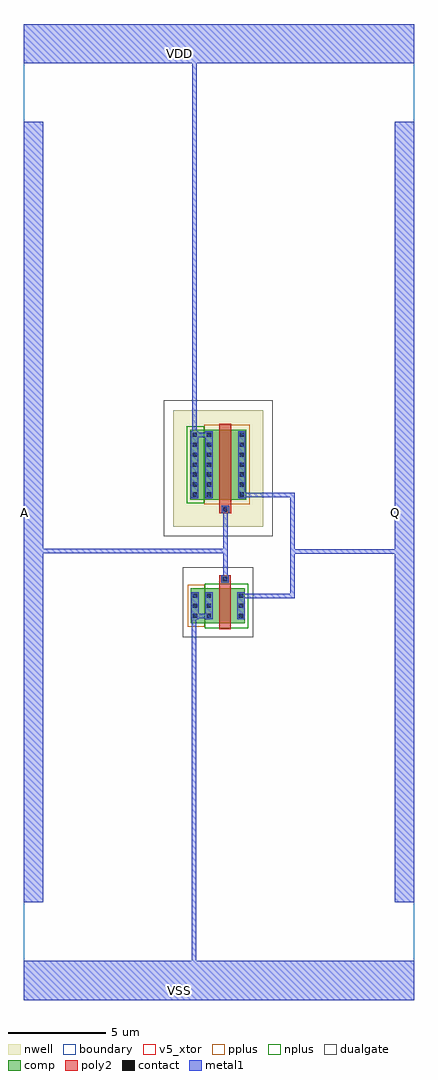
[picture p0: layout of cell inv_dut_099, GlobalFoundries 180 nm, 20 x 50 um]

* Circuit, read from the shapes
.subckt inv_dut_099 A Q VDD VSS
XM1 Q A VSS VSS nfet_05v0 w=1.8u l=0.6u
XM2 Q A VDD VDD pfet_05v0 w=3.6u l=0.6u
.ends

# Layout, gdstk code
from math import pi, radians
import gdstk
lib = gdstk.Library(unit=1e-6, precision=1e-09)
def R(c, l, rs):  # rectangles x0, y0, x1, y1
    for r in rs: c.add(gdstk.rectangle(r[:2], r[2:], *l))
def A(c, l, x, y, w, h, nx, ny, dx, dy):  # array of equal rectangles
    R(c, l, [(x+i*dx, y+j*dy, x+i*dx+w, y+j*dy+h) for i in range(nx) for j in range(ny)])
boundary = (0, 0)
nwell = (21, 0)
comp = (22, 0)
poly2 = (30, 0)
pplus = (31, 0)
nplus = (32, 0)
contact = (33, 0)
metal1 = (34, 0)
dualgate = (55, 0)
v5_xtor = (112, 1)

pfet = lib.new_cell('pfet')
R(pfet, nwell, [(-1.32,-0.99,3.27,4.97)])
R(pfet, comp, [(-0.46,0,2.41,3.6)])
R(pfet, poly2, [(0.31,-0.3,0.91,4.28)])
R(pfet, pplus, [(-0.63,-0.24,1.68,3.84)])
R(pfet, nplus, [(1.68,-0.17,2.58,3.77)])
A(pfet, contact, -0.34, 0.16, 0.22, 0.22, 1, 7, 0, 0.51)
A(pfet, contact, 1.34, 0.16, 0.22, 0.22, 1, 7, 0, 0.51)
A(pfet, contact, 2.07, 0.16, 0.22, 0.22, 1, 7, 0, 0.51)
R(pfet, contact, [(0.5,3.98,0.72,4.2)])
R(pfet, metal1, [(-0.42,0.08,-0.04,3.52), (1.26,0.08,1.64,3.52), (1.99,0.08,2.37,3.52), (0.42,3.9,0.8,4.28)])
R(pfet, dualgate, [(-1.82,-1.49,3.77,5.47)])
R(pfet, v5_xtor, [(-1.82,-1.49,3.77,5.47)])

nfet = lib.new_cell('nfet')
R(nfet, comp, [(-0.42,0,2.35,1.8)])
R(nfet, poly2, [(0.31,-0.66,0.91,2.1)])
R(nfet, pplus, [(1.64,-0.17,2.52,1.97)])
R(nfet, nplus, [(-0.59,-0.24,1.64,2.04)])
A(nfet, contact, -0.32, 0.28, 0.22, 0.22, 1, 3, 0, 0.51)
A(nfet, contact, 1.32, 0.28, 0.22, 0.22, 1, 3, 0, 0.51)
A(nfet, contact, 2.03, 0.28, 0.22, 0.22, 1, 3, 0, 0.51)
R(nfet, contact, [(0.5,-0.59,0.72,-0.37)])
R(nfet, metal1, [(0.42,-0.67,0.8,-0.29), (-0.4,0.2,-0.02,1.6), (1.24,0.2,1.62,1.6), (1.95,0.2,2.33,1.6)])
R(nfet, dualgate, [(-0.84,-1.08,2.77,2.51)])
R(nfet, v5_xtor, [(-0.84,-1.08,2.77,2.51)])

inv_dut_099 = lib.new_cell('inv_dut_099')
R(inv_dut_099, boundary, [(-10,-25,10,25)])
R(inv_dut_099, metal1, [(-10,-25,10,-23), (-10,-20,-9,20), (9,-20,10,20), (-10,23,10,25)])
inv_dut_099.add(gdstk.FlexPath([(0.335,0.1),(0.335,-3.41)], 0.23, ends="flush", simple_path=True, layer=34, datatype=0))  # metal1
inv_dut_099.add(gdstk.FlexPath([(1.105,-4.305),(3.775,-4.305),(3.775,0.865),(1.16,0.865)], 0.23, ends="flush", simple_path=True, layer=34, datatype=0))  # metal1
inv_dut_099.add(gdstk.FlexPath([(3.76,-2.025),(9.235,-2.025)], 0.23, ends="flush", simple_path=True, layer=34, datatype=0))  # metal1
inv_dut_099.add(gdstk.FlexPath([(0.335,-2.01),(-9.28,-2.01)], 0.23, ends="flush", simple_path=True, layer=34, datatype=0))  # metal1
inv_dut_099.add(gdstk.FlexPath([(-0.49,3.94),(-1.26,3.94),(-1.26,23.225)], 0.23, ends="flush", simple_path=True, layer=34, datatype=0))  # metal1
inv_dut_099.add(gdstk.FlexPath([(-0.51,-5.32),(-1.29,-5.32),(-1.29,-23.17)], 0.23, ends="flush", simple_path=True, layer=34, datatype=0))  # metal1
inv_dut_099.add(gdstk.Reference(pfet, (0.935,4.225), rotation=pi))
inv_dut_099.add(gdstk.Reference(nfet, (0.91,-3.905), rotation=pi))
inv_dut_099.add(gdstk.Label('VDD', (-2,23.5), layer=34, texttype=10))
inv_dut_099.add(gdstk.Label('VSS', (-2,-24.5), layer=34, texttype=10))
inv_dut_099.add(gdstk.Label('A', (-9.97,0), layer=34, texttype=10))
inv_dut_099.add(gdstk.Label('Q', (9.03,0), layer=34, texttype=10))

lib.write_gds('inv_dut_099.gds')
